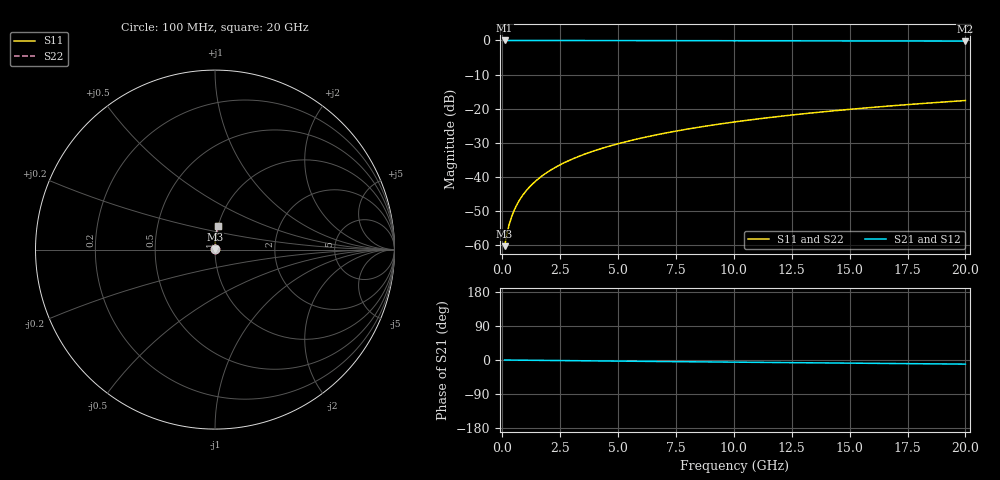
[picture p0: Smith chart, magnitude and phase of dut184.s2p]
! Touchstone file exported from HFSS 2024.1.0
!  File:  C:/UserFiles/LocalFiles/RDL_TSV_Batchsim/temp_RDL_top_184_1778686385.aedt
!  Generated:  11:35:17 PM May 13, 2026
!  Design:  RDL_top
!  Project:  temp_RDL_top_184_1778686385
!  Setup:  Setup1
!  Solution:  Sweep
! Variables:
!  dtsv = 10.80580581um
!  hbump = 3um
!  htsv = 59.46um
!  ldown = 100um
!  lrdl = 117.77um
!  p = 40
!  p1 = 48.69um
!  rhole = 1um
!  t = 450um
!  tdown = 3.915915916um
!  trdl = 3.93um
!  wdown = 15.38538539um
!  wrdl = 19.65um
# GHz S MA R 50.000000
! Terminal data exported
! Port[1] = Box2_T1
! Port[2] = Box2_T2
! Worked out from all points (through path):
!   200 points, 100 MHz to 20 GHz, reference 50 ohm
!   highest |S21| = -0.01 dB at 100 MHz (marker M1); lowest = -0.2 dB at 20 GHz (marker M2)
!   group delay of S21, straight-line fit = 1.49 ps
!   lowest |S11| = -60.3 dB at 100 MHz (marker M3), VSWR 1.00, Z = 50.1 + j0.0643 ohm
!   |S11| at or under -10 dB: start of sweep to end of sweep
!   |S22| runs from -60.3 to -17.6 dB; largest |S21 - S12| = 3.6e-15
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0.1  0.0009712 41.4  0.9993 -0.1  0.9993 -0.1  0.0009712 41.4
! Gamma 0 0 0 0
! Port Impedance 50 0 50 0
0.2  0.001476 59.2  0.9992 -0.1  0.9992 -0.1  0.001476 59.2
0.3  0.002034 67.3  0.9992 -0.2  0.9992 -0.2  0.002034 67.3
0.4  0.002604 72.0  0.9992 -0.2  0.9992 -0.2  0.002604 72.0
0.5  0.003179 75.0  0.9991 -0.3  0.9991 -0.3  0.003179 75.0
0.6  0.003757 77.2  0.9991 -0.4  0.9991 -0.4  0.003757 77.2
0.8  0.004923 80.2  0.999 -0.5  0.999 -0.5  0.004923 80.2
1.1  0.006691 82.8  0.9989 -0.7  0.9989 -0.7  0.006691 82.8
1.5  0.009073 84.8  0.9988 -0.9  0.9988 -0.9  0.009073 84.8
1.8  0.01087 85.8  0.9986 -1.1  0.9986 -1.1  0.01087 85.8
2.1  0.01268 86.5  0.9984 -1.3  0.9984 -1.3  0.01268 86.5
2.7  0.01633 87.5  0.998 -1.6  0.998 -1.6  0.01633 87.5
3.5  0.02126 88.2  0.9973 -2.1  0.9973 -2.1  0.02126 88.2
4.2  0.02564 88.6  0.9966 -2.5  0.9966 -2.5  0.02564 88.6
5  0.03072 88.8  0.9957 -3.0  0.9957 -3.0  0.03072 88.8
5.9  0.03652 88.9  0.9947 -3.5  0.9947 -3.5  0.03652 88.9
6.8  0.04241 88.9  0.9936 -4.0  0.9936 -4.0  0.04241 88.9
8.3  0.05238 88.5  0.9917 -4.8  0.9917 -4.8  0.05238 88.5
10.1  0.06453 87.8  0.9895 -5.8  0.9895 -5.8  0.06453 87.8
13.4  0.08703 86.1  0.9855 -7.5  0.9855 -7.5  0.08703 86.1
16.7  0.1095 84.3  0.9816 -9.2  0.9816 -9.2  0.1095 84.3
20  0.1318 82.3  0.9775 -10.9  0.9775 -10.9  0.1318 82.3
